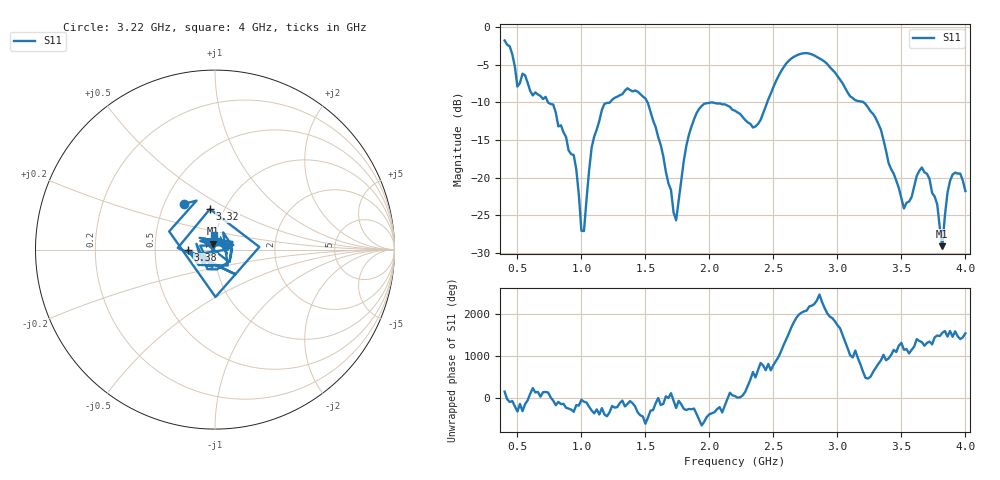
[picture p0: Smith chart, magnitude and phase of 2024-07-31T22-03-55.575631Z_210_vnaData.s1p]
!Created with skrf (http://scikit-rf.org).
# Hz S RI R 50.0
!freq ReS11 ImS11
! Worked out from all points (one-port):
!   181 points, 400 MHz to 4 GHz, reference 50 ohm
!   lowest |S11| = -29.1 dB at 3.82 GHz (marker M1), VSWR 1.07, Z = 48.8 + j3.25 ohm
!   |S11| at or under -10 dB: 739.1 MHz to 1.223 GHz (483.8 MHz wide, 49.3 % of centre); 1.516 GHz to 2.452 GHz (935.3 MHz wide, 47.1 % of centre); 3.205 GHz to end of sweep
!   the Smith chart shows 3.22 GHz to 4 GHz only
!   S11 on the Smith chart (normalised r, x): 3.22 GHz: 0.63, +0.35; 3.32 GHz: 0.86, +0.41; 3.38 GHz: 0.74, -0.01; 4 GHz: 0.97, +0.16
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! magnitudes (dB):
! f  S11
! 400 MHz  -1.8
! 500 MHz  -7.9
! 560 MHz  -6.4
! 860 MHz  -14.0
! 940 MHz  -17.0
! 1 GHz  -27.1
! 1.02 GHz  -27.1
! 1.1 GHz  -14.5
! 1.3 GHz  -9.1
! 1.5 GHz  -9.5
! 1.72 GHz  -24.6
! 1.76 GHz  -23.0
! 1.82 GHz  -15.8
! 1.92 GHz  -10.9
! 2.2 GHz  -11.1
! 2.36 GHz  -13.2
! 2.66 GHz  -3.9
! 3.1 GHz  -9.2
! 3.22 GHz  -10.2
! 3.32 GHz  -12.9
! 3.38 GHz  -16.5
! 3.52 GHz  -24.1
! 3.56 GHz  -23.2
! 3.7 GHz  -19.5
! 3.78 GHz  -23.6
! 3.82 GHz  -29.1
! 3.9 GHz  -19.6
! 4 GHz  -21.8
